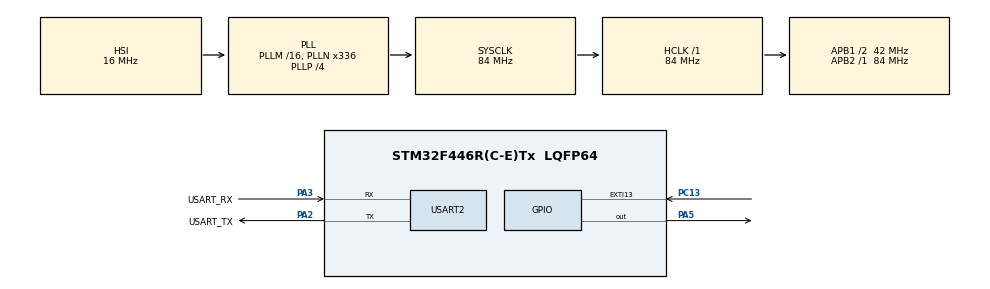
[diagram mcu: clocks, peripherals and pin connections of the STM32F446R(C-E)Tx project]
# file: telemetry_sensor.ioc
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Mcu.Family=STM32F4
Mcu.Name=STM32F446R(C-E)Tx
Mcu.Package=LQFP64
NUCLEO-F446RE.BUTTON=1
NUCLEO-F446RE.LD1=true
NVIC.EXTI15_10_IRQn=true\:0\:0\:false\:false\:true\:false\:true\:true
NVIC.PriorityGroup=NVIC_PRIORITYGROUP_0
PA13.GPIO_Label=TMS
PA13.Signal=SYS_JTMS-SWDIO
PA14.GPIO_Label=TCK
PA14.Signal=SYS_JTCK-SWCLK
PA2.GPIO_Label=USART_TX
PA2.Mode=Asynchronous
PA2.Signal=USART2_TX
PA3.GPIO_Label=USART_RX
PA3.Mode=Asynchronous
PA3.Signal=USART2_RX
PA5.Signal=GPIO_Output
PB3.GPIO_Label=SWO
PB3.Signal=SYS_JTDO-SWO
PC13.Signal=GPXTI13
PC14-OSC32_IN.Signal=RCC_OSC32_IN
PC15-OSC32_OUT.Signal=RCC_OSC32_OUT
PH0-OSC_IN.Signal=RCC_OSC_IN
PH1-OSC_OUT.Signal=RCC_OSC_OUT
ProjectManager.HeapSize=0x200
ProjectManager.StackSize=0x400
ProjectManager.TargetToolchain=Makefile
RCC.AHBFreq_Value=84000000
RCC.APB1CLKDivider=RCC_HCLK_DIV2
RCC.APB1Freq_Value=42000000
RCC.APB1TimFreq_Value=84000000
RCC.APB2Freq_Value=84000000
RCC.APB2TimFreq_Value=84000000
RCC.CortexFreq_Value=84000000
RCC.FLatency-AdvancedSettings=FLASH_LATENCY_2
RCC.HCLKFreq_Value=84000000
RCC.HSE_VALUE=8000000
RCC.HSI_VALUE=16000000
RCC.LSE_VALUE=32768
RCC.PLLN=336
RCC.PLLP=RCC_PLLP_DIV4
RCC.SYSCLKFreq_VALUE=84000000
RCC.SYSCLKSource=RCC_SYSCLKSOURCE_PLLCLK
RCC.USBFreq_Value=168000000
RCC.VCOOutputFreq_Value=336000000
USART2.VirtualMode=VM_ASYNC
VP_NUCLEO-F446RE_VS_BSP_COMMON.Mode=COMMON
board=NUCLEO-F446RE

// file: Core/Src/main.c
/* USER CODE BEGIN Header */
/**
  ******************************************************************************
  * @file           : main.c
  * @brief          : Main program body
  ******************************************************************************
  * @attention
  *
  * Copyright (c) 2026 STMicroelectronics.
  * All rights reserved.
  *
  * This software is licensed under terms that can be found in the LICENSE file
  * in the root directory of this software component.
  * If no LICENSE file comes with this software, it is provided AS-IS.
  *
  ******************************************************************************
  */
/* USER CODE END Header */
#include "main.h"

/* USER CODE BEGIN Includes */
#include <stdio.h>
#include <stdlib.h>
#include <string.h>
#include <time.h>
/* USER CODE END Includes */

/* USER CODE BEGIN PTD */
typedef struct {
  uint32_t current_time; // - Holds the timestamp of the system down to ms, as a unsigned 32 bit integer.
  uint32_t pressure;     // - Pressure reading
  uint8_t sys_status;    // - System status at time of reporting
  float temp;
} packet;

/* USER CODE END PTD */

UART_HandleTypeDef huart2;

void SystemClock_Config(void);
static void MX_GPIO_Init(void);
static void MX_USART2_UART_Init(void);

int main(void)
{

  /* USER CODE BEGIN 1 */
    char buffer[128]; // - String buffer
    uint32_t last_transmission = 0; // - Time since last transmission
    packet d_payload;

  /* USER CODE END 1 */

  /* MCU Configuration--------------------------------------------------------*/

  /* Reset of all peripherals, Initializes the Flash interface and the Systick. */
  HAL_Init();

  /* Configure the system clock */
  SystemClock_Config();

  /* Initialize all configured peripherals */
  MX_GPIO_Init();
  MX_USART2_UART_Init();
  /* USER CODE BEGIN 2 */
  srand( HAL_GetTick()); // - Seeds the RNG machine
  /* USER CODE END 2 */

  /* Initialize leds */
  BSP_LED_Init(LED2);

  /* Initialize USER push-button, will be used to trigger an interrupt each time it's pressed.*/
  BSP_PB_Init(BUTTON_USER, BUTTON_MODE_EXTI);

  /* Infinite loop */
  /* USER CODE BEGIN WHILE */
  while (1)
  {
    d_payload.current_time = 0;
    d_payload.pressure = rand() % (1050 - 950 + 1) + 950; // - Generates a random value between 950 and 1050 hPa, normal barometric range
    d_payload.temp = (15 + (float)rand() / RAND_MAX * (60 - 15));
    d_payload.sys_status = 1;
    /* USER CODE END WHILE */

    /* USER CODE BEGIN 3 */
    if (HAL_GetTick() - last_transmission >= 100){     // - Updates the current time if 1+ seconds have passed
       last_transmission = HAL_GetTick(); // - Backing up the last timestamp

       d_payload.current_time = HAL_GetTick(); // - Getting the new time

       snprintf(buffer, sizeof(buffer), "Time: %lu ms, Pres: %lu hPa, Stat: %d, Temp: %d.%d C\r\n", // - Laying the foundation to frontload the values for the output
                d_payload.current_time, d_payload.pressure, d_payload.sys_status, // -  Loads the values into the buffer to send to the hmi
                (int)d_payload.temp, ((int)(d_payload.temp * 10)) % 10); // -  Splitting the float type temp into two ints

       HAL_UART_Transmit(&huart2, (uint8_t*)buffer, strlen(buffer), HAL_MAX_DELAY); // - Transmits the data to the Recipient, preformatted as-is define above

       BSP_LED_Toggle(LED2);
    }
  }
  /* USER CODE END 3 */
}

void SystemClock_Config(void)
{
  RCC_OscInitTypeDef RCC_OscInitStruct = {0};
  RCC_ClkInitTypeDef RCC_ClkInitStruct = {0};

  /** Configure the main internal regulator output voltage
  */
  __HAL_RCC_PWR_CLK_ENABLE();
  __HAL_PWR_VOLTAGESCALING_CONFIG(PWR_REGULATOR_VOLTAGE_SCALE3);

  /** Initializes the RCC Oscillators according to the specified parameters
  * in the RCC_OscInitTypeDef structure.
  */
  RCC_OscInitStruct.OscillatorType = RCC_OSCILLATORTYPE_HSI;
  RCC_OscInitStruct.HSIState = RCC_HSI_ON;
  RCC_OscInitStruct.HSICalibrationValue = RCC_HSICALIBRATION_DEFAULT;
  RCC_OscInitStruct.PLL.PLLState = RCC_PLL_ON;
  RCC_OscInitStruct.PLL.PLLSource = RCC_PLLSOURCE_HSI;
  RCC_OscInitStruct.PLL.PLLM = 16;
  RCC_OscInitStruct.PLL.PLLN = 336;
  RCC_OscInitStruct.PLL.PLLP = RCC_PLLP_DIV4;
  RCC_OscInitStruct.PLL.PLLQ = 2;
  RCC_OscInitStruct.PLL.PLLR = 2;
  if (HAL_RCC_OscConfig(&RCC_OscInitStruct) != HAL_OK)
  {
    Error_Handler();
  }

  /** Initializes the CPU, AHB and APB buses clocks
  */
  RCC_ClkInitStruct.ClockType = RCC_CLOCKTYPE_HCLK|RCC_CLOCKTYPE_SYSCLK
                              |RCC_CLOCKTYPE_PCLK1|RCC_CLOCKTYPE_PCLK2;
  RCC_ClkInitStruct.SYSCLKSource = RCC_SYSCLKSOURCE_PLLCLK;
  RCC_ClkInitStruct.AHBCLKDivider = RCC_SYSCLK_DIV1;
  RCC_ClkInitStruct.APB1CLKDivider = RCC_HCLK_DIV2;
  RCC_ClkInitStruct.APB2CLKDivider = RCC_HCLK_DIV1;

  if (HAL_RCC_ClockConfig(&RCC_ClkInitStruct, FLASH_LATENCY_2) != HAL_OK)
  {
    Error_Handler();
  }
}

static void MX_USART2_UART_Init(void)
{

  huart2.Instance = USART2;
  huart2.Init.BaudRate = 115200;
  huart2.Init.WordLength = UART_WORDLENGTH_8B;
  huart2.Init.StopBits = UART_STOPBITS_1;
  huart2.Init.Parity = UART_PARITY_NONE;
  huart2.Init.Mode = UART_MODE_TX_RX;
  huart2.Init.HwFlowCtl = UART_HWCONTROL_NONE;
  huart2.Init.OverSampling = UART_OVERSAMPLING_16;
  if (HAL_UART_Init(&huart2) != HAL_OK)
  {
    Error_Handler();
  }

}

static void MX_GPIO_Init(void)
{

  /* GPIO Ports Clock Enable */
  __HAL_RCC_GPIOC_CLK_ENABLE();
  __HAL_RCC_GPIOH_CLK_ENABLE();
  __HAL_RCC_GPIOA_CLK_ENABLE();
  __HAL_RCC_GPIOB_CLK_ENABLE();

}

void Error_Handler(void)
{
  __disable_irq();
  while (1)
  {
  }
}
